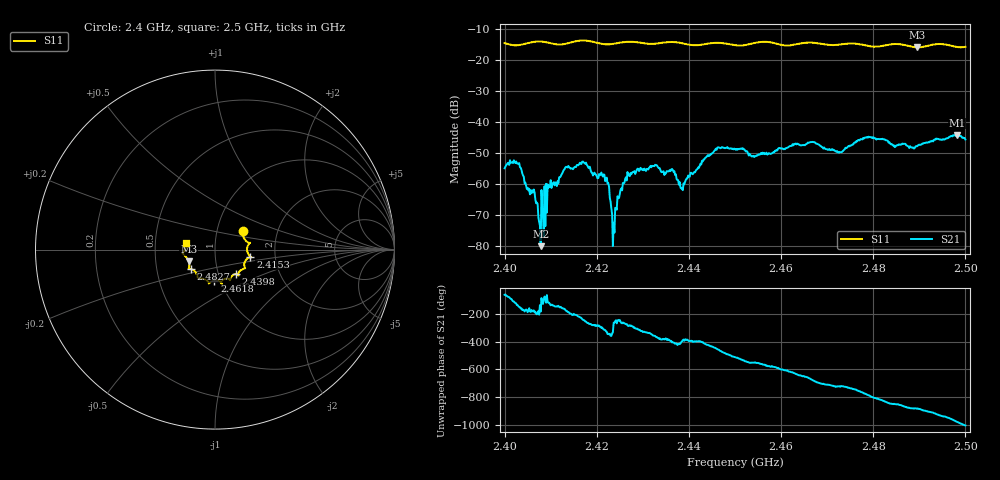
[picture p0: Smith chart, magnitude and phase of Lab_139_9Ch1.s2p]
# Hz S RI R 50
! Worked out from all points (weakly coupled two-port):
!   601 points, 2.4 GHz to 2.5 GHz, reference 50 ohm
!   highest |S21| = -44.24 dB at 2.4982 GHz (marker M1); lowest = -80.2 dB at 2.4078 GHz (marker M2)
!   lowest |S11| = -15.9 dB at 2.4895 GHz (marker M3), VSWR 1.38, Z = 37 - j4.99 ohm
!   |S11| at or under -10 dB: start of sweep to end of sweep
!   S12 and S22 are empty: the file has one direction only
!   S11 on the Smith chart (normalised r, x): 2.4 GHz: 1.33, +0.29; 2.4153 GHz: 1.48, -0.12; 2.4398 GHz: 1.21, -0.34; 2.4618 GHz: 0.94, -0.33; 2.4827 GHz: 0.75, -0.17; 2.5 GHz: 0.72, +0.06
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2.4e9  0.1551 0.1063  0.000877 -0.00155  0 0  0 0
2.403e9  0.164 0.0592  -0.00171 -0.00125  0 0  0 0
2.407833e9  0.1954 0.0381  -9.78e-05 2.92e-06  0 0  0 0
2.409833e9  0.1864 0.0285  -0.00054 -0.000706  0 0  0 0
2.415333e9  0.1968 -0.039  -0.00169 0.000819  0 0  0 0
2.416667e9  0.2027 -0.043  -0.00136 0.00158  0 0  0 0
2.422e9  0.1677 -0.0644  0.000944 0.000674  0 0  0 0
2.423833e9  0.1628 -0.0864  -2.52e-05 0.00016  0 0  0 0
2.426667e9  0.1681 -0.1034  0.000282 0.00152  0 0  0 0
2.433333e9  0.1299 -0.1339  0.00179 -0.000397  0 0  0 0
2.438333e9  0.1269 -0.1392  0.000624 -0.000562  0 0  0 0
2.439833e9  0.1152 -0.1361  0.00117 -0.000688  0 0  0 0
2.446167e9  0.0841 -0.1706  -0.000224 -0.00383  0 0  0 0
2.45e9  0.065 -0.1617  -0.00318 -0.00176  0 0  0 0
2.461833e9  -0.00313 -0.1729  -0.000992 0.00392  0 0  0 0
2.466667e9  -0.0347 -0.1883  0.00327 0.0034  0 0  0 0
2.472833e9  -0.0795 -0.1601  0.00323 -0.000257  0 0  0 0
2.482667e9  -0.1349 -0.1089  -0.00199 -0.00464  0 0  0 0
2.483333e9  -0.1402 -0.1085  -0.00252 -0.00386  0 0  0 0
2.4895e9  -0.1463 -0.0658  -0.00387 -0.00115  0 0  0 0
2.498167e9  -0.1626 0.00771  -0.00121 0.00602  0 0  0 0
2.5e9  -0.1591 0.039  0.00131 0.00503  0 0  0 0
